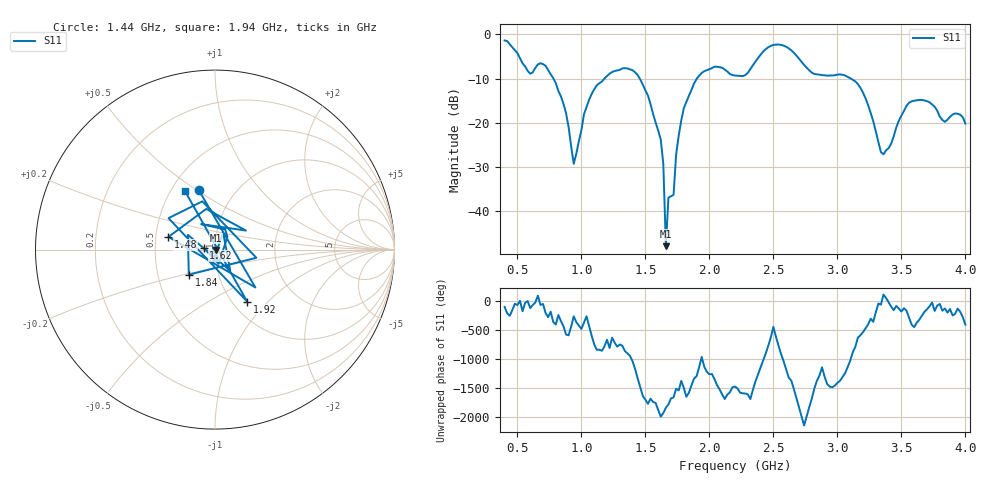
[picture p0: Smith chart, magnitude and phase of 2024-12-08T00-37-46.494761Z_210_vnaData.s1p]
!Created with skrf (http://scikit-rf.org).
# Hz S RI R 50.0
!freq ReS11 ImS11
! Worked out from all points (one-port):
!   181 points, 400 MHz to 4 GHz, reference 50 ohm
!   lowest |S11| = -48.0 dB at 1.66 GHz (marker M1), VSWR 1.01, Z = 50.3 - j0.236 ohm
!   |S11| at or under -10 dB: 781.5 MHz to 1.18 GHz (398.6 MHz wide, 40.6 % of centre); 1.456 GHz to 1.903 GHz (447.2 MHz wide, 26.6 % of centre); 3.104 GHz to end of sweep
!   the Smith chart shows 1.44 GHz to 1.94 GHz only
!   S11 on the Smith chart (normalised r, x): 1.44 GHz: 0.68, +0.51; 1.48 GHz: 0.58, +0.09; 1.62 GHz: 0.88, +0.02; 1.84 GHz: 0.72, -0.21; 1.92 GHz: 1.17, -0.76; 1.94 GHz: 0.59, +0.44
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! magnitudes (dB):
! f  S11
! 400 MHz  -1.4
! 600 MHz  -8.9
! 720 MHz  -7.1
! 860 MHz  -15.8
! 940 MHz  -29.3
! 1.08 GHz  -13.5
! 1.3 GHz  -8.1
! 1.44 GHz  -9.3
! 1.48 GHz  -11.4
! 1.62 GHz  -23.8
! 1.64 GHz  -29.4
! 1.66 GHz  -48.0
! 1.68 GHz  -37.0
! 1.72 GHz  -36.4
! 1.74 GHz  -27.3
! 1.76 GHz  -23.0
! 1.84 GHz  -13.9
! 1.92 GHz  -9.4
! 1.94 GHz  -8.7
! 2.2 GHz  -9.3
! 2.48 GHz  -2.6
! 2.66 GHz  -4.2
! 2.82 GHz  -9.0
! 3.1 GHz  -9.9
! 3.22 GHz  -14.5
! 3.36 GHz  -27.2
! 3.56 GHz  -15.5
! 4 GHz  -20.2
